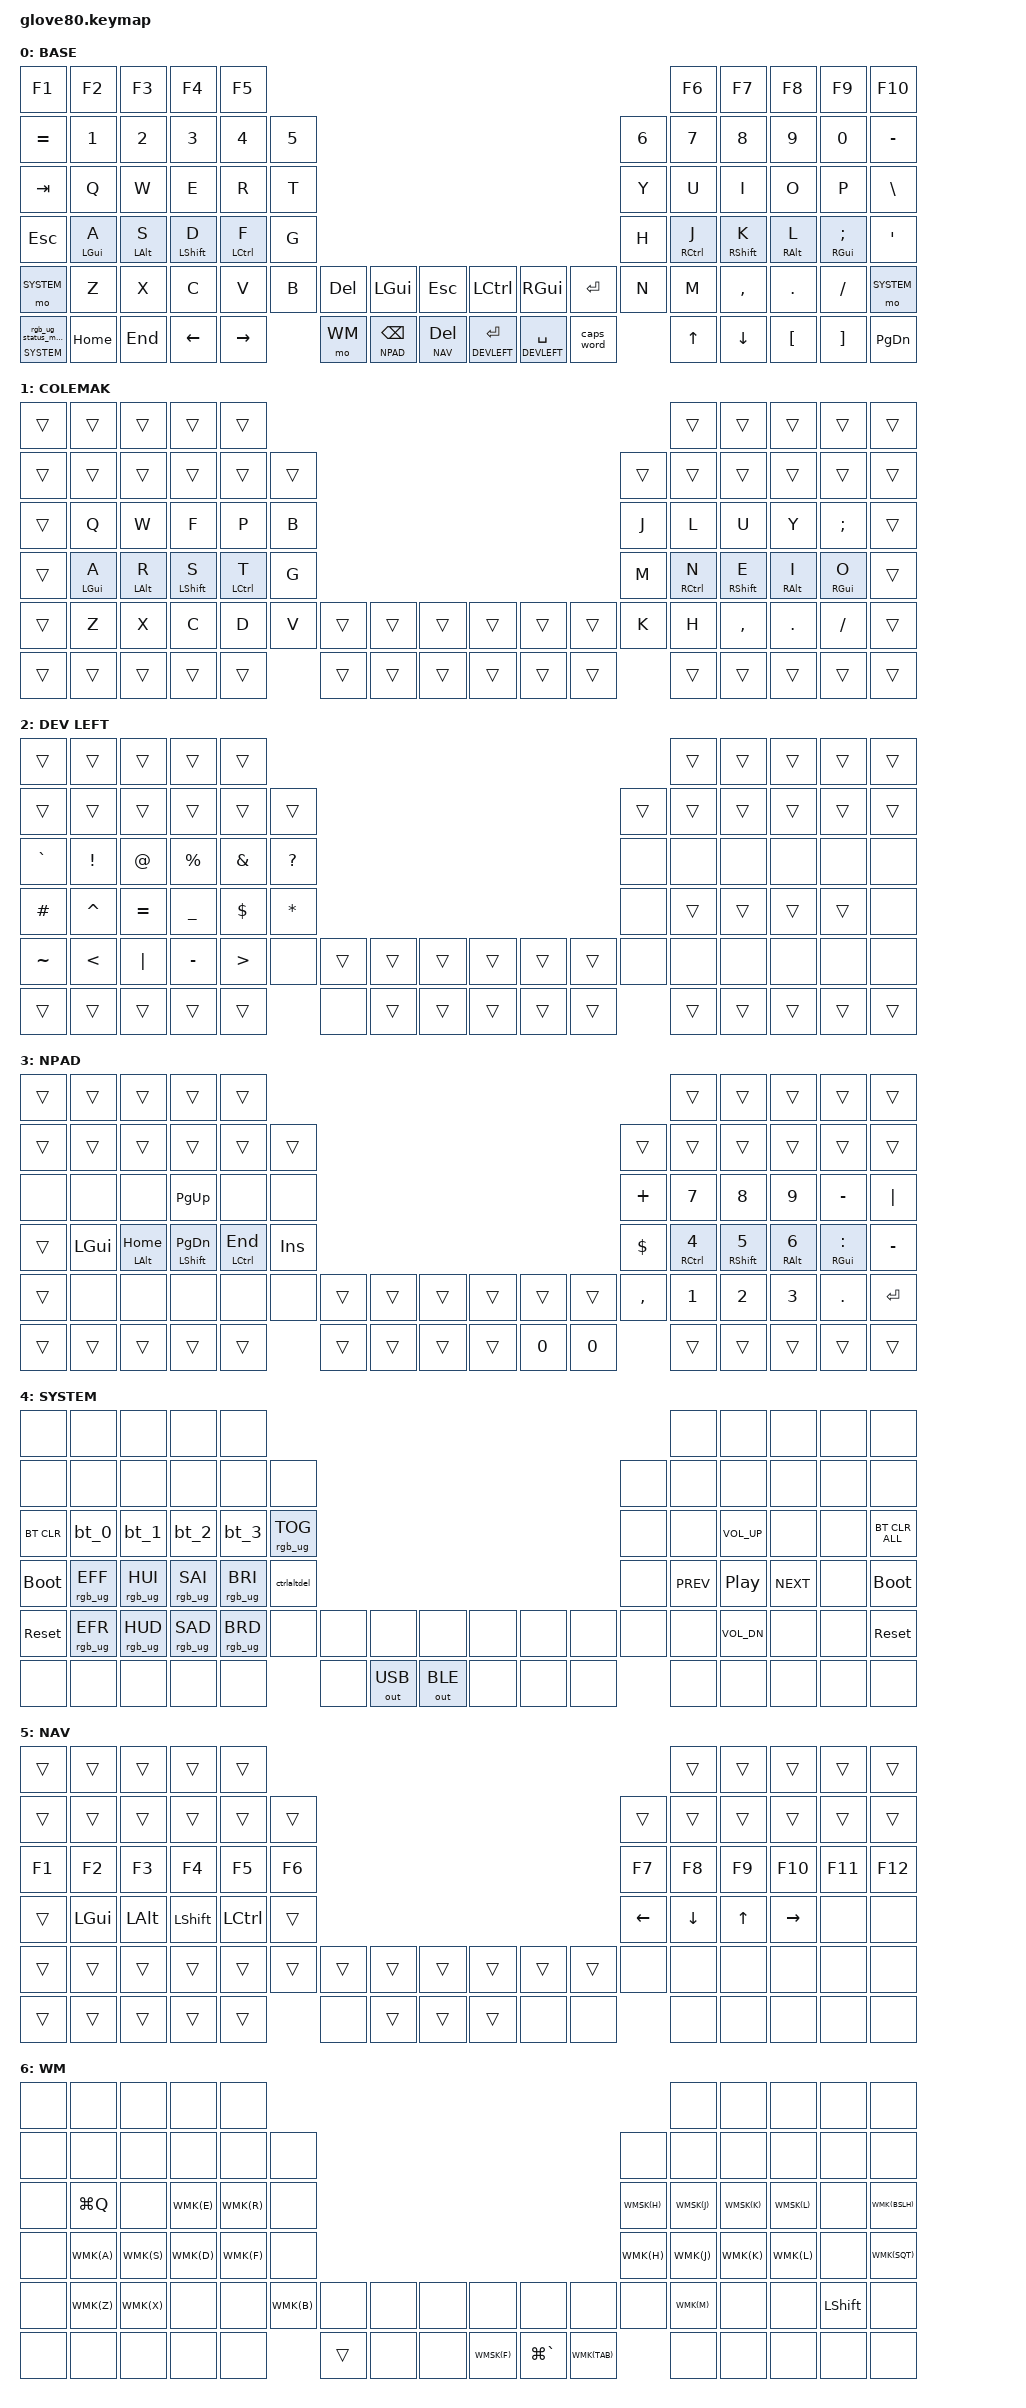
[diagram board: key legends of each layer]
/*
 * Copyright (c) 2020 The ZMK Contributors
 * Copyright (c) 2025 Innaworks Development Limited, trading as MoErgo
 *
 * SPDX-License-Identifier: MIT
 */

// Key position definitions for home row mods
#define KEYS_L 4 3 2 1 0 14 13 12 11 10 15 26 25 24 23 22 27 38 37 36 35 34 39 50 49 48 47 46 51 68 67 66 65 64  // Left-hand keys by number
#define KEYS_R 5 6 7 8 9 16 20 19 18 17 21 32 31 30 29 28 33 44 43 42 41 40 45 62 61 60 59 58 63 79 78 77 76 75  // Right-hand keys by number
#define THUMBS_L 54 53 52 71 70 69                                                                                // Left thumb keys
#define THUMBS_R 55 56 57 72 73 74                                                                                // Right thumb keys

#include <behaviors.dtsi>
#include <dt-bindings/zmk/keys.h>
#include <dt-bindings/zmk/bt.h>
#include <dt-bindings/zmk/ext_power.h>
#include <dt-bindings/zmk/outputs.h>
#include <dt-bindings/zmk/rgb.h>
#include <dt-bindings/zmk/mouse.h>

// Layer indices. These must match the order of the blocks in `keymap` below.
#define BASE 0
#define COLEMAK 1
#define DEVLEFT 2
#define NPAD 3
#define SYSTEM 4
#define NAV 5
#define WM 6

#include "shared_behaviors.dtsi"

/ {

    macros {
        rgb_ug_status_macro: rgb_ug_status_macro {
            label = "RGB_UG_STATUS";
            compatible = "zmk,behavior-macro";
            #binding-cells = <0>;
            bindings
                = <&rgb_ug RGB_STATUS>;
        };
    };

    combos {
        compatible = "zmk,combos";
        /* ----- LEFT HAND ----- */
        combo_tilde {
            timeout-ms = <50>;
            require-prior-idle-ms = <150>;
            key-positions = <23 24>;  // Q W
            layers = <BASE COLEMAK>;
            bindings = <&kp TILDE>;
        };
        combo_lparen {
            timeout-ms = <50>;
            require-prior-idle-ms = <150>;
            key-positions = <38 37>;  // F D
            layers = <BASE COLEMAK>;
            bindings = <&kp LPAR>;
        };
        combo_lbracket {
            timeout-ms = <50>;
            require-prior-idle-ms = <150>;
            key-positions = <36 37>;  // S D
            layers = <BASE COLEMAK>;
            bindings = <&kp LBKT>;
        };
        combo_lbrace {
            timeout-ms = <50>;
            require-prior-idle-ms = <150>;
            key-positions = <36 38>;  // S F
            layers = <BASE COLEMAK>;
            bindings = <&kp LBRC>;
        };
        combo_underscore {
            timeout-ms = <50>;
            require-prior-idle-ms = <150>;
            key-positions = <35 36>;  // A S
            layers = <BASE COLEMAK>;
            bindings = <&kp UNDERSCORE>;
        };
        /* ----- RIGHT HAND ----- */
        combo_rparen {
            timeout-ms = <50>;
            require-prior-idle-ms = <150>;
            key-positions = <41 42>;  // J K
            layers = <BASE COLEMAK>;
            bindings = <&kp RPAR>;
        };
        combo_rbracket {
            timeout-ms = <50>;
            require-prior-idle-ms = <150>;
            key-positions = <42 43>;  // K L
            layers = <BASE COLEMAK>;
            bindings = <&kp RBKT>;
        };
        combo_rbrace {
            timeout-ms = <50>;
            require-prior-idle-ms = <150>;
            key-positions = <41 43>;  // J L
            layers = <BASE COLEMAK>;
            bindings = <&kp RBRC>;
        };
        combo_hyphen {
            timeout-ms = <50>;
            require-prior-idle-ms = <150>;
            key-positions = <43 44>;  // L ;
            layers = <BASE COLEMAK>;
            bindings = <&kp MINUS>;
        };
        combo_colemak_toggle {
            timeout-ms = <50>;
            require-prior-idle-ms = <300>;
            key-positions = <71 72>;  // Inner lower thumbs
            layers = <BASE COLEMAK>;
            bindings = <&tog COLEMAK>;
        };
    };

    behaviors {
        magic: magic {
            compatible = "zmk,behavior-hold-tap";
            #binding-cells = <2>;
            flavor = "tap-preferred";
            tapping-term-ms = <200>;
            bindings = <&mo>, <&rgb_ug_status_macro>;
        };
    };

    keymap {
        compatible = "zmk,keymap";
        BASE {
            display-name = "BASE";
            bindings = <
    &kp F1           &kp F2           &kp F3           &kp F4             &kp F5                                                                                                                                           &kp F6          &kp F7          &kp F8           &kp F9           &kp F10
    &kp EQUAL        &kp N1           &kp N2           &kp N3             &kp N4           &kp N5                                                                                                          &kp N6          &kp N7          &kp N8          &kp N9           &kp N0           &kp MINUS
    &kp TAB          &kp Q            &kp W            &kp E              &kp R            &kp T                                                                                                           &kp Y           &kp U           &kp I           &kp O            &kp P            &kp BSLH
    &kp ESC          &hml LGUI A      &hml LALT S      &hmls LSHIFT D     &hml LCTRL F     &kp G                                                                                                           &kp H           &hmr RCTRL J    &hmrs RSHIFT K  &hmr RALT L      &hmr RGUI SEMI   &kp SQT
    &mo SYSTEM       &kp Z            &kp X            &kp C              &kp V            &kp B            &kp DEL  &kp LGUI         &kp ESC        &kp LCTRL          &kp RGUI             &kp RET       &kp N           &kp M           &kp COMMA       &kp DOT          &kp FSLH         &mo SYSTEM
    &magic SYSTEM 0  &kp HOME         &kp END          &kp LEFT           &kp RIGHT                         &mo WM   &ltlt NPAD BSPC  &ltlt NAV DEL  &ltrt DEVLEFT RET  &ltrt DEVLEFT SPACE  &caps_word                    &kp UP          &kp DOWN        &kp LBKT         &kp RBKT         &kp PG_DN
            >;
        };
        COLEMAK {
            display-name = "COLEMAK";
            bindings = <
    &trans           &trans           &trans           &trans             &trans                                                                                                                                           &trans          &trans          &trans           &trans           &trans
    &trans           &trans           &trans           &trans             &trans           &trans                                                                                                          &trans          &trans          &trans          &trans           &trans           &trans
    &trans           &kp Q            &kp W            &kp F              &kp P            &kp B                                                                                                           &kp J           &kp L           &kp U           &kp Y            &kp SEMI         &trans
    &trans           &hml LGUI A      &hml LALT R      &hmls LSHIFT S     &hml LCTRL T     &kp G                                                                                                           &kp M           &hmr RCTRL N    &hmrs RSHIFT E  &hmr RALT I      &hmr RGUI O      &trans
    &trans           &kp Z            &kp X            &kp C              &kp D            &kp V            &trans   &trans           &trans         &trans             &trans               &trans        &kp K           &kp H           &kp COMMA       &kp DOT          &kp FSLH         &trans
    &trans           &trans           &trans           &trans             &trans                            &trans   &trans           &trans         &trans             &trans               &trans                        &trans          &trans          &trans           &trans           &trans
            >;
        };
        DEVLEFT {
            display-name = "DEV LEFT";
            bindings = <
    &trans           &trans           &trans           &trans             &trans                                                                                                                                           &trans          &trans          &trans           &trans           &trans
    &trans           &trans           &trans           &trans             &trans           &trans                                                                                                          &trans          &trans          &trans          &trans           &trans           &trans
    &kp GRAVE        &kp EXCL         &kp AT_SIGN      &kp PERCENT        &kp AMPERSAND    &kp QUESTION                                                                                                    &none           &none           &none           &none            &none            &none
    &kp HASH         &kp CARET        &kp EQUAL        &kp UNDERSCORE     &kp DOLLAR       &kp STAR                                                                                                        &none           &trans          &trans          &trans           &trans           &none
    &kp TILDE        &kp LT           &kp PIPE         &kp MINUS          &kp GT           &none            &trans   &trans           &trans         &trans             &trans               &trans        &none           &none           &none           &none            &none            &none
    &trans           &trans           &trans           &trans             &trans                            &none    &trans           &trans         &trans             &trans               &trans                        &trans          &trans          &trans           &trans           &trans
            >;
        };
        NPAD {
            display-name = "NPAD";
            bindings = <
    &trans           &trans           &trans           &trans             &trans                                                                                                                                           &trans          &trans          &trans           &trans           &trans
    &trans           &trans           &trans           &trans             &trans           &trans                                                                                                          &trans          &trans          &trans          &trans           &trans           &trans
    &none            &none            &none            &kp PG_UP          &none            &none                                                                                                           &kp PLUS        &kp N7          &kp N8          &kp N9           &kp MINUS        &kp PIPE
    &trans           &kp LGUI         &hml LALT HOME   &hml LSHIFT PG_DN  &hml LCTRL END   &kp INSERT                                                                                                      &kp DOLLAR      &hmr RCTRL N4   &hmr RSHIFT N5  &hmr RALT N6     &hmr RGUI COLON  &kp MINUS
    &trans           &none            &none            &none              &none            &none            &trans   &trans           &trans         &trans             &trans               &trans        &kp COMMA       &kp N1          &kp N2          &kp N3           &kp PERIOD       &kp ENTER
    &trans           &trans           &trans           &trans             &trans                            &trans   &trans           &trans         &trans             &kp N0               &kp N0                        &trans          &trans          &trans           &trans           &trans
            >;
        };
        SYSTEM {
            display-name = "SYSTEM";
            bindings = <
    &none            &none            &none            &none              &none                                                                                                                                            &none           &none           &none            &none            &none
    &none            &none            &none            &none              &none            &none                                                                                                           &none           &none           &none           &none            &none            &none
    &bt BT_CLR       &bt_0            &bt_1            &bt_2              &bt_3            &rgb_ug RGB_TOG                                                                                                 &none           &none           &kp C_VOL_UP    &none            &none            &bt BT_CLR_ALL
    &bootloader      &rgb_ug RGB_EFF  &rgb_ug RGB_HUI  &rgb_ug RGB_SAI    &rgb_ug RGB_BRI  &ctrlaltdel                                                                                                     &none           &kp C_PREV      &kp C_PP        &kp C_NEXT       &none            &bootloader
    &sys_reset       &rgb_ug RGB_EFR  &rgb_ug RGB_HUD  &rgb_ug RGB_SAD    &rgb_ug RGB_BRD  &none            &none    &none            &none          &none              &none                &none         &none           &none           &kp C_VOL_DN    &none            &none            &sys_reset
    &none            &none            &none            &none              &none                             &none    &out OUT_USB     &out OUT_BLE   &none              &none                &none                         &none           &none           &none            &none            &none
            >;
        };
        NAV {
            display-name = "NAV";
            bindings = <
    &trans           &trans           &trans           &trans             &trans                                                                                                                                           &trans          &trans          &trans           &trans           &trans
    &trans           &trans           &trans           &trans             &trans           &trans                                                                                                          &trans          &trans          &trans          &trans           &trans           &trans
    &kp F1           &kp F2           &kp F3           &kp F4             &kp F5           &kp F6                                                                                                          &kp F7          &kp F8          &kp F9          &kp F10          &kp F11          &kp F12
    &trans           &kp LGUI         &kp LALT         &kp LSHIFT         &kp LCTRL        &trans                                                                                                          &kp LEFT_ARROW  &kp DOWN_ARROW  &kp UP_ARROW    &kp RIGHT_ARROW  &none            &none
    &trans           &trans           &trans           &trans             &trans           &trans           &trans   &trans           &trans         &trans             &trans               &trans        &none           &none           &none           &none            &none            &none
    &trans           &trans           &trans           &trans             &trans                            &none    &trans           &trans         &trans             &none                &none                         &none           &none           &none            &none            &none
            >;
        };
        WM {
            display-name = "WM";
            bindings = <
    &none            &none            &none            &none              &none                                                                                                                                            &none           &none           &none            &none            &none
    &none            &none            &none            &none              &none            &none                                                                                                           &none           &none           &none           &none            &none            &none
    &none            &kp LG(Q)        &none            &kp WMK(E)         &kp WMK(R)       &none                                                                                                           &kp WMSK(H)     &kp WMSK(J)     &kp WMSK(K)     &kp WMSK(L)      &none            &kp WMK(BSLH)
    &none            &kp WMK(A)       &kp WMK(S)       &kp WMK(D)         &kp WMK(F)       &none                                                                                                           &kp WMK(H)      &kp WMK(J)      &kp WMK(K)      &kp WMK(L)       &none            &kp WMK(SQT)
    &none            &kp WMK(Z)       &kp WMK(X)       &none              &none            &kp WMK(B)       &none    &none            &none          &none              &none                &none         &none           &kp WMK(M)      &none           &none            &kp LSHIFT       &none
    &none            &none            &none            &none              &none                             &trans   &none            &none          &kp WMSK(F)        &kp LG(GRAVE)        &kp WMK(TAB)                  &none           &none           &none            &none            &none
            >;
        };
    };
};
